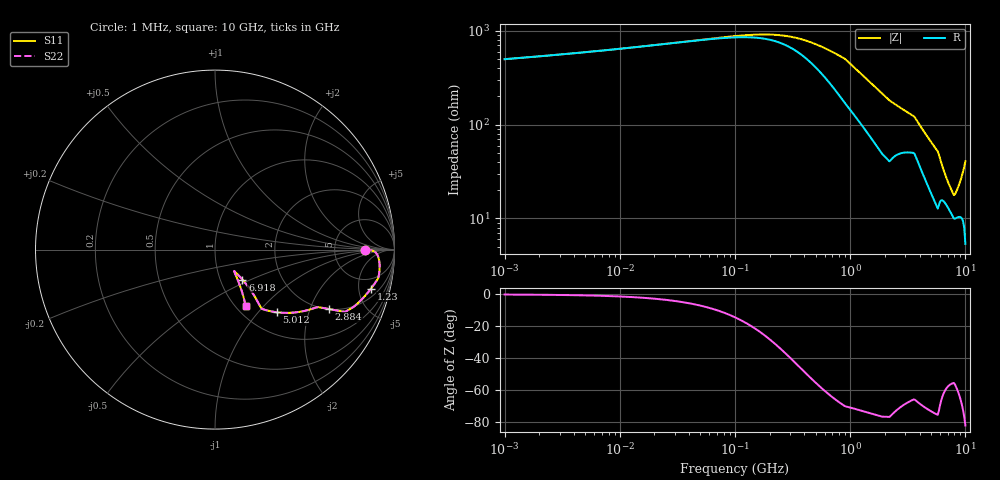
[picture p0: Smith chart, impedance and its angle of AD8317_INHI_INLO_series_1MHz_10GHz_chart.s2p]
! AD8317 input impedance model 'chart', 1 MHz - 10 GHz (see ad8317_input_model.py)
! Reference impedance 50 ohm. INLO is ac-coupled RF common.
! 2-port series element Zin between port1 (INHI) and port2 (INLO). Connect to rfsim ports 2 and 3.
# HZ S RI R 50
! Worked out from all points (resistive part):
!   401 points, 1 MHz to 10 GHz, reference 50 ohm
!   read as one part in series: R = 502 ohm at 1.047 MHz
!   S11 on the Smith chart (normalised r, x): 1 MHz: 11, -0; 1.23 GHz: 3.06, -6.74; 2.884 GHz: 2.00, -2.72; 5.012 GHz: 1.38, -1.27; 6.918 GHz: 1.27, -0.45; 10 GHz: 1.11, -0.81
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1000000  0.8333 -0.000305  0.1667 0.000305  0.1667 0.000305  0.8333 -0.000305
4677351  0.8549 -0.00132  0.1451 0.00132  0.1451 0.00132  0.8549 -0.00132
2.187762e7  0.8775 -0.00563  0.1225 0.00563  0.1225 0.00563  0.8775 -0.00563
1.023293e8  0.9009 -0.0234  0.0991 0.0234  0.0991 0.0234  0.9009 -0.0234
2.398833e8  0.9125 -0.0506  0.0875 0.0506  0.0875 0.0506  0.9125 -0.0506
3.388442e8  0.9158 -0.0688  0.0842 0.0688  0.0842 0.0688  0.9158 -0.0688
4.677351e8  0.9173 -0.0913  0.0827 0.0913  0.0827 0.0913  0.9173 -0.0913
8.709636e8  0.9106 -0.1549  0.0894 0.1549  0.0894 0.1549  0.9106 -0.1549
1.230269e9  0.869 -0.2177  0.131 0.2177  0.131 0.2177  0.869 -0.2177
1.698244e9  0.8044 -0.2908  0.1956 0.2908  0.1956 0.2908  0.8044 -0.2908
2.187762e9  0.7256 -0.3461  0.2744 0.3461  0.2744 0.3461  0.7256 -0.3461
2.884032e9  0.6342 -0.3312  0.3658 0.3312  0.3658 0.3312  0.6342 -0.3312
3.630781e9  0.5653 -0.3219  0.4347 0.3219  0.4347 0.3219  0.5653 -0.3219
4.265795e9  0.4539 -0.3494  0.5461 0.3494  0.5461 0.3494  0.4539 -0.3494
5.011872e9  0.3442 -0.3493  0.6558 0.3493  0.6558 0.3493  0.3442 -0.3493
5.754399e9  0.2606 -0.3303  0.7394 0.3303  0.7394 0.3303  0.2606 -0.3303
6.456542e9  0.1855 -0.2074  0.8145 0.2074  0.8145 0.2074  0.1855 -0.2074
6.91831e9  0.1525 -0.1666  0.8475 0.1666  0.8475 0.1666  0.1525 -0.1666
7.585776e9  0.1197 -0.1317  0.8803 0.1317  0.8803 0.1317  0.1197 -0.1317
8.128305e9  0.1074 -0.123  0.8926 0.123  0.8926 0.123  0.1074 -0.123
8.709636e9  0.1212 -0.1551  0.8788 0.1551  0.8788 0.1551  0.1212 -0.1551
1e10  0.1721 -0.317  0.8279 0.317  0.8279 0.317  0.1721 -0.317
